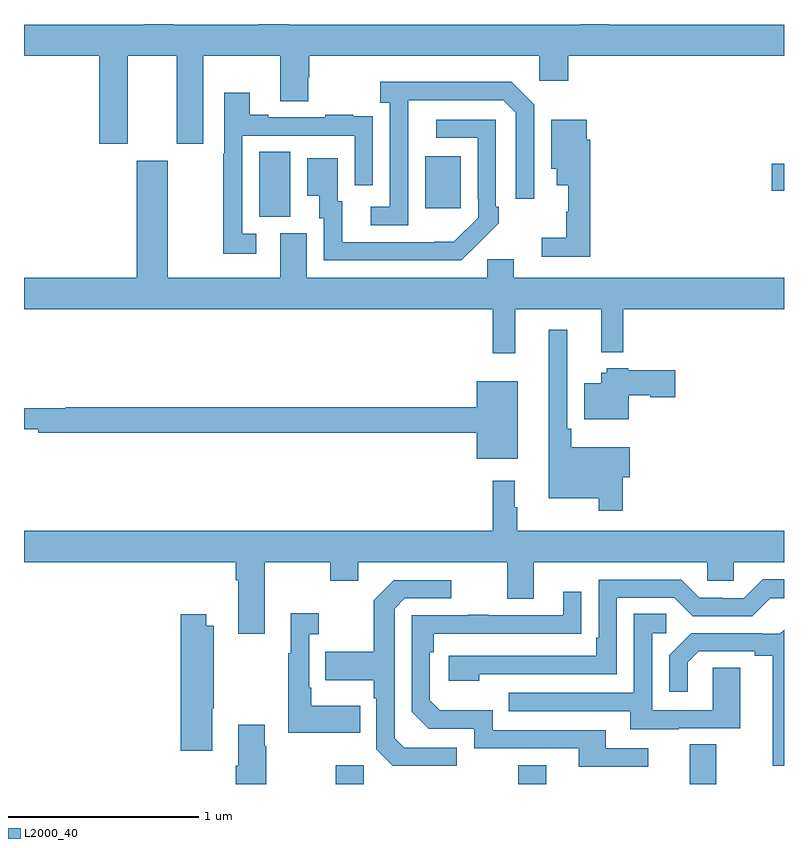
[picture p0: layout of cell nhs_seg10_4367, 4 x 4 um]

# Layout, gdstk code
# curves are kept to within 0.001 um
import gdstk
lib = gdstk.Library(unit=1e-6, precision=1e-09)
def R(c, l, rs):  # rectangles x0, y0, x1, y1
    for r in rs: c.add(gdstk.rectangle(r[:2], r[2:], *l))
def P(c, l, *ps):  # polygons
    for p in ps: c.add(gdstk.Polygon(p, *l))
L2000_40 = (2000, 40)

nhs_seg10_4367 = lib.new_cell('nhs_seg10_4367')
R(nhs_seg10_4367, L2000_40, [(358.642,1280.5,358.788,1280.599), (359.602,1280.5,359.749,1280.599), (360.503,1280.5,360.643,1280.708), (358.238,1283.485,358.402,1283.828), (359.111,1283.529,359.299,1283.803), (360.936,1283.623,361,1283.765)])
P(nhs_seg10_4367, L2000_40, [(357.547,1284.332),(357.803,1284.332),(357.803,1283.871),(357.943,1283.871),(357.943,1284.332),(358.349,1284.332),(358.349,1284.094),(358.497,1284.094),(358.497,1284.219),(358.502,1284.219),(358.502,1284.332),(359.712,1284.332),(359.712,1284.201),(359.864,1284.201),(359.864,1284.332),(361,1284.332),(361,1284.496),(360.078,1284.496),(360.078,1284.5),(359.927,1284.5),(359.927,1284.496),(358.394,1284.496),(358.394,1284.5),(358.234,1284.5),(358.234,1284.496),(357.789,1284.496),(357.789,1284.5),(357.629,1284.5),(357.629,1284.496),(357,1284.496),(357,1284.332),(357.395,1284.332),(357.395,1283.871),(357.547,1283.871)],
  [(359.022,1283.899),(359.023,1284.099),(359.523,1284.099),(359.589,1284.033),(359.589,1283.58),(359.685,1283.58),(359.685,1284.075),(359.564,1284.196),(358.875,1284.196),(358.875,1284.086),(358.926,1284.086),(358.926,1283.538),(358.824,1283.538),(358.824,1283.442),(359.022,1283.442)],
  [(358.222,1283.397),(358.149,1283.397),(358.149,1283.913),(358.74,1283.913),(358.74,1283.652),(358.836,1283.652),(358.836,1283.906),(358.835,1283.906),(358.835,1284.015),(358.733,1284.015),(358.733,1284.022),(358.585,1284.022),(358.585,1284.009),(358.285,1284.009),(358.285,1284.022),(358.189,1284.022),(358.189,1284.139),(358.053,1284.139),(358.053,1283.816),(358.048,1283.816),(358.048,1283.292),(358.222,1283.292)],
  [(359.393,1283.347),(359.394,1283.346),(359.499,1283.451),(359.499,1283.539),(359.484,1283.539),(359.484,1283.997),(359.169,1283.997),(359.169,1283.901),(359.388,1283.901),(359.388,1283.581),(359.391,1283.581),(359.391,1283.481),(359.263,1283.353),(358.675,1283.352),(358.675,1283.568),(358.651,1283.568),(358.651,1283.794),(358.49,1283.794),(358.49,1283.597),(358.553,1283.597),(358.553,1283.478),(358.578,1283.478),(358.578,1283.256),(359.302,1283.256)],
  [(359.981,1283.891),(359.962,1283.891),(359.962,1283.995),(359.774,1283.995),(359.774,1283.738),(359.804,1283.738),(359.804,1283.651),(359.864,1283.651),(359.864,1283.511),(359.853,1283.511),(359.853,1283.375),(359.724,1283.375),(359.724,1283.274),(359.981,1283.274)],
  [(359.585,1283),(360.038,1283),(360.038,1282.772),(360.155,1282.772),(360.155,1283),(361,1283),(361,1283.164),(359.578,1283.164),(359.578,1283.262),(359.439,1283.262),(359.439,1283.164),(358.489,1283.164),(358.489,1283.4),(358.349,1283.4),(358.349,1283.164),(357.757,1283.164),(357.757,1283.779),(357.593,1283.779),(357.593,1283.164),(357,1283.164),(357,1283),(359.467,1283),(359.467,1282.767),(359.585,1282.767)],
  [(360.152,1282.115),(360.187,1282.115),(360.187,1282.273),(359.879,1282.273),(359.879,1282.369),(359.859,1282.369),(359.859,1282.891),(359.762,1282.891),(359.762,1282.004),(360.024,1282.004),(360.024,1281.939),(360.152,1281.939)],
  [(360.184,1282.547),(360.297,1282.547),(360.297,1282.535),(360.427,1282.535),(360.427,1282.677),(360.18,1282.677),(360.18,1282.687),(360.066,1282.687),(360.066,1282.665),(360.038,1282.665),(360.038,1282.609),(359.948,1282.609),(359.948,1282.421),(360.184,1282.421)],
  [(359.599,1282.621),(359.384,1282.621),(359.384,1282.484),(357.221,1282.484),(357.221,1282.477),(357,1282.477),(357,1282.367),(357.076,1282.367),(357.076,1282.348),(359.384,1282.348),(359.384,1282.211),(359.599,1282.211)],
  [(358.267,1281.668),(358.612,1281.668),(358.612,1281.569),(358.759,1281.569),(358.759,1281.668),(359.543,1281.668),(359.543,1281.474),(359.683,1281.474),(359.683,1281.668),(360.597,1281.668),(360.597,1281.57),(360.735,1281.57),(360.735,1281.668),(361,1281.668),(361,1281.832),(359.596,1281.832),(359.596,1281.956),(359.584,1281.956),(359.584,1282.096),(359.467,1282.096),(359.467,1281.832),(357,1281.832),(357,1281.668),(358.115,1281.668),(358.115,1281.572),(358.127,1281.572),(358.127,1281.291),(358.267,1281.291)],
  [(359.396,1281.078),(360.12,1281.078),(360.12,1281.48),(360.423,1281.48),(360.519,1281.384),(360.834,1281.384),(360.927,1281.477),(361,1281.477),(361,1281.577),(360.889,1281.577),(360.789,1281.477),(360.674,1281.477),(360.674,1281.48),(360.555,1281.48),(360.459,1281.576),(360.024,1281.576),(360.024,1281.271),(360.011,1281.271),(360.011,1281.174),(359.235,1281.174),(359.235,1281.044),(359.396,1281.044)],
  [(359.278,1280.691),(359.001,1280.691),(358.95,1280.742),(358.95,1281.423),(359.004,1281.477),(359.248,1281.477),(359.248,1281.573),(358.947,1281.573),(358.842,1281.467),(358.842,1281.195),(358.585,1281.195),(358.585,1281.047),(358.842,1281.047),(358.842,1280.951),(358.854,1280.951),(358.854,1280.682),(358.941,1280.595),(359.278,1280.595)],
  [(360.286,1280.688),(360.061,1280.688),(360.061,1280.784),(359.466,1280.784),(359.466,1280.887),(359.189,1280.887),(359.136,1280.94),(359.136,1281.194),(359.156,1281.194),(359.156,1281.291),(359.933,1281.292),(359.933,1281.511),(359.837,1281.511),(359.837,1281.387),(359.447,1281.387),(359.447,1281.392),(359.335,1281.392),(359.335,1281.387),(359.04,1281.387),(359.04,1280.88),(359.13,1280.79),(359.37,1280.79),(359.37,1280.688),(359.921,1280.688),(359.921,1280.592),(360.286,1280.592)],
  [(358.769,1280.911),(358.513,1280.911),(358.513,1281.007),(358.5,1281.007),(358.5,1281.287),(358.552,1281.287),(358.552,1281.4),(358.403,1281.4),(358.403,1281.187),(358.392,1281.187),(358.392,1280.771),(358.769,1280.771)],
  [(360.445,1280.793),(360.769,1280.793),(360.769,1281.113),(360.624,1281.113),(360.624,1280.889),(360.306,1280.889),(360.306,1281.294),(360.379,1281.294),(360.379,1281.395),(360.21,1281.395),(360.21,1280.979),(359.551,1280.979),(359.551,1280.883),(360.191,1280.883),(360.191,1280.789),(360.445,1280.789)],
  [(357.991,1280.899),(357.999,1280.899),(357.999,1281.334),(357.958,1281.334),(357.958,1281.394),(357.824,1281.394),(357.824,1280.676),(357.991,1280.676)],
  [(361,1281.313),(360.978,1281.291),(360.884,1281.291),(360.884,1281.294),(360.512,1281.294),(360.396,1281.178),(360.396,1280.985),(360.493,1280.985),(360.493,1281.141),(360.55,1281.198),(360.845,1281.198),(360.845,1281.176),(360.941,1281.176),(360.941,1280.595),(361,1280.595)],
  [(358.267,1280.699),(358.267,1280.812),(358.127,1280.812),(358.127,1280.596),(358.115,1280.596),(358.115,1280.5),(358.275,1280.5),(358.275,1280.699)])

lib.write_gds('nhs_seg10_4367.gds')
